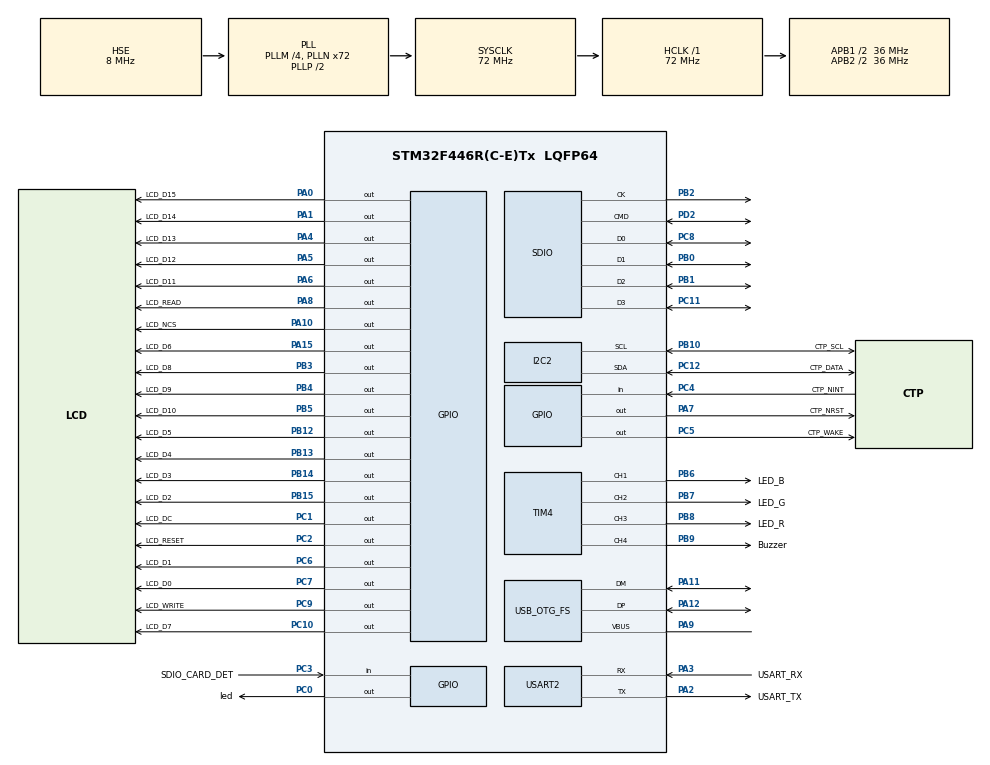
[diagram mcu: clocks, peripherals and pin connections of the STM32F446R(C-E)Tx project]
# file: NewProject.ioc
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PH0-OSC_IN.Signal=RCC_OSC_IN
FATFS0.BSP.api=Unknown
PB10.Mode=I2C
VP_FATFS_VS_SDIO.Mode=SDIO
PC12.Signal=I2C2_SDA
PB14.GPIO_Label=LCD_D3
PA14.GPIO_Label=TCK
PC6.GPIO_Label=LCD_D1
PB6.GPIO_Label=LED_B
PA6.GPIO_Label=LCD_D11
PB13.Signal=GPIO_Output
RCC.SYSCLKSource=RCC_SYSCLKSOURCE_PLLCLK
RCC.APB2TimFreq_Value=72000000
PB6.Signal=S_TIM4_CH1
PC7.Signal=GPIO_Output
PC3.Signal=GPIO_Input
FATFS0.BSP.ip=GPIO
TIM4.Channel-PWM\ Generation3\ CH3=TIM_CHANNEL_3
PB2.Signal=SDIO_CK
FATFS0.BSP.i2caddr=0
PB12.GPIO_Label=LCD_D5
PC4.GPIO_Label=CTP_NINT
NVIC.TIM2_IRQn=true\:0\:0\:false\:false\:true\:true\:true
SH.S_TIM4_CH2.0=TIM4_CH2,PWM Generation2 CH2
PA8.Signal=GPIO_Output
Mcu.Package=LQFP64
PB9.Signal=S_TIM4_CH4
TIM2.Prescaler=7200
PB1.Signal=SDIO_D2
NVIC.TimeBase=TIM1_UP_TIM10_IRQn
USB_DEVICE.MANUFACTURER_STRING-HID_FS=Adri Carpio
FATFS0.BSP.solution=PC3
NVIC.TimeBaseIP=TIM1
PA10.Signal=GPIO_Output
PC11.Mode=SD_4_bits_Wide_bus
RCC.APB2CLKDivider=RCC_HCLK_DIV2
SH.S_TIM4_CH1.0=TIM4_CH1,PWM Generation1 CH1
RCC.APB1TimFreq_Value=72000000
TIM4.Channel-PWM\ Generation4\ CH4=TIM_CHANNEL_4
PA4.GPIO_Label=LCD_D13
FATFS0.BSP.STBoard=false
FATFS0.BSP.mode=Input
PC2.Signal=GPIO_Output
PC6.Signal=GPIO_Output
PC0.Signal=GPIO_Output
RCC.APB1CLKDivider=RCC_HCLK_DIV2
PC14-OSC32_IN.Signal=RCC_OSC32_IN
PA0-WKUP.GPIO_Label=LCD_D15
PA0-WKUP.Signal=GPIO_Output
PA3.Mode=Asynchronous
PB8.GPIO_Label=LED_R
PA8.GPIO_Label=LCD_READ
PA9.Signal=USB_OTG_FS_VBUS
PB10.Signal=I2C2_SCL
PB14.Signal=GPIO_Output
FATFS.BSP.number=1
PA5.Signal=GPIO_Output
PC12.Mode=I2C
NVIC.TIM3_IRQn=true\:0\:0\:false\:false\:true\:true\:true
PB4.GPIO_Label=LCD_D9
PB15.GPIO_Label=LCD_D2
PA1.GPIO_Label=LCD_D14
TIM2.Period=10
PA13.Mode=Serial_Wire
PC7.GPIO_Label=LCD_D0
PC8.Mode=SD_4_bits_Wide_bus
PA4.Signal=GPIO_Output
PB5.Signal=GPIO_Output
PA5.GPIO_Label=LCD_D12
PC12.GPIO_Label=CTP_DATA
PA11.Signal=USB_OTG_FS_DM
ProjectManager.HeapSize=0x9000
PB1.Mode=SD_4_bits_Wide_bus
NVIC.TIM1_UP_TIM10_IRQn=true\:0\:0\:false\:false\:true\:false\:true
NVIC.PriorityGroup=NVIC_PRIORITYGROUP_4
PC3.GPIO_Label=SDIO_CARD_DET
PD2.Signal=SDIO_CMD
PB0.Signal=SDIO_D1
PC1.Signal=GPIO_Output
FATFS0.BSP.name=Detect_SDIO
USB_DEVICE.VirtualMode-HID_FS=Hid
Mcu.Family=STM32F4
USB_DEVICE.CLASS_NAME_FS=HID
RCC.CortexFreq_Value=72000000
PC10.Signal=GPIO_Output
PC0.GPIO_Label=led
PA11.Mode=Device_Only
PB13.GPIO_Label=LCD_D4
PB15.Signal=GPIO_Output
ProjectManager.StackSize=0x9000
PA15.GPIO_Label=LCD_D6
PA12.Signal=USB_OTG_FS_DP
RCC.HCLKFreq_Value=72000000
TIM3.Period=10
RCC.AHBFreq_Value=72000000
PH0-OSC_IN.Mode=HSE-External-Oscillator
RCC.HSE_VALUE=8000000
PC14-OSC32_IN.Mode=LSE-External-Oscillator
PA14.Mode=Serial_Wire
VP_SYS_VS_tim1.Mode=TIM1
TIM3.Prescaler=7200
PA10.GPIO_Label=LCD_NCS
PB7.Signal=S_TIM4_CH2
RCC.FLatency-AdvancedSettings=FLASH_LATENCY_2
PB7.GPIO_Label=LED_G
PH1-OSC_OUT.Mode=HSE-External-Oscillator
PA6.Signal=GPIO_Output
USART2.VirtualMode=VM_ASYNC
NVIC.OTG_FS_IRQn=true\:0\:0\:false\:false\:true\:false\:true
PA2.GPIO_Label=USART_TX
USB_OTG_FS.VirtualMode=Device_Only
PA15.Signal=GPIO_Output
PB5.GPIO_Label=LCD_D10
PC5.Signal=GPIO_Output
PC2.GPIO_Label=LCD_RESET
VP_TIM3_VS_ClockSourceINT.Mode=Internal
PB4.Signal=GPIO_Output
PA3.Signal=USART2_RX
PB3.GPIO_Label=LCD_D8
RCC.PLLSourceVirtual=RCC_PLLSOURCE_HSE
TIM4.Channel-PWM\ Generation1\ CH1=TIM_CHANNEL_1
PC15-OSC32_OUT.Mode=LSE-External-Oscillator
PB9.GPIO_Label=Buzzer
PC10.GPIO_Label=LCD_D7
PC9.GPIO_Label=LCD_WRITE
USB_DEVICE.VirtualModeFS=Hid_FS
SH.S_TIM4_CH4.0=TIM4_CH4,PWM Generation4 CH4
PC11.Signal=SDIO_D3
PC8.Signal=SDIO_D0
USB_DEVICE.PRODUCT_STRING_HID_FS=Teclado DisplayPad
PC4.Signal=GPIO_Input
FATFS0.BSP.instance=PC3
PA13.Signal=SYS_JTMS-SWDIO
PA9.Mode=Activate_VBUS
ProjectManager.TargetToolchain=Makefile
PB10.GPIO_Label=CTP_SCL
SH.S_TIM4_CH3.0=TIM4_CH3,PWM Generation3 CH3
RCC.USBFreq_Value=48000000
PC15-OSC32_OUT.Signal=RCC_OSC32_OUT
PA1.Signal=GPIO_Output
PD2.Mode=SD_4_bits_Wide_bus
PB0.Mode=SD_4_bits_Wide_bus
board=NUCLEO-F446RE
RCC.VCOOutputFreq_Value=144000000
TIM4.Channel-PWM\ Generation2\ CH2=TIM_CHANNEL_2
VP_USB_DEVICE_VS_USB_DEVICE_HID_FS.Mode=HID_FS
RCC.APB2Freq_Value=36000000
VP_TIM2_VS_ClockSourceINT.Mode=Internal
PC1.GPIO_Label=LCD_DC
PH1-OSC_OUT.Signal=RCC_OSC_OUT
Mcu.Name=STM32F446R(C-E)Tx
PA2.Signal=USART2_TX
PA13.GPIO_Label=TMS
RCC.48MHZClocksFreq_Value=84000000
PB3.Signal=GPIO_Output
RCC.SYSCLKFreq_VALUE=72000000
PA7.GPIO_Label=CTP_NRST
PA12.Mode=Device_Only
PC5.GPIO_Label=CTP_WAKE
PB2.Mode=SD_4_bits_Wide_bus
PA14.Signal=SYS_JTCK-SWCLK
RCC.HSI_VALUE=16000000
RCC.PLLQ=3
RCC.PLLM=4
RCC.PLLN=72
PA2.Mode=Asynchronous
PB8.Signal=S_TIM4_CH3
PC9.Signal=GPIO_Output
RCC.APB1Freq_Value=36000000
PB12.Signal=GPIO_Output
PA3.GPIO_Label=USART_RX
PA7.Signal=GPIO_Output

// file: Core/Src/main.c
/* USER CODE BEGIN Header */
/**
  ******************************************************************************
  * @file           : main.c
  * @brief          : Main program body
  ******************************************************************************
  * @attention
  *
  * <h2><center>&copy; Copyright (c) 2020 STMicroelectronics.
  * All rights reserved.</center></h2>
  *
  * This software component is licensed by ST under Ultimate Liberty license
  * SLA0044, the "License"; You may not use this file except in compliance with
  * the License. You may obtain a copy of the License at:
  *                             www.st.com/SLA0044
  *
  ******************************************************************************
  */
/* USER CODE END Header */

#include "main.h"
#include "fatfs.h"
#include "i2c.h"
#include "sdio.h"
#include "tim.h"
#include "usart.h"
#include "usb_device.h"
#include "gpio.h"

/* USER CODE BEGIN Includes */
#include "lvgl.h"
#include "pantalla.h"
#include "tactil.h"
#include "panel_login.h"
#include "usb.h"
/* USER CODE END Includes */

void SystemClock_Config(void);

/* USER CODE BEGIN 0 */
volatile uint16_t cnt = 0; // contador temporal, usado para ver si el LED se queda fijo ( si lo hace, el sistema se colgó )
volatile uint16_t contador_lvgl = 0;
//volatile uint16_t contador_tactil_lvgl = 0;
/* USER CODE END 0 */

int main(void)
{

  /* MCU Configuration--------------------------------------------------------*/

  /* Reset of all peripherals, Initializes the Flash interface and the Systick. */
  HAL_Init();

  /* Configure the system clock */
  SystemClock_Config();

  /* Initialize all configured peripherals */
  MX_GPIO_Init();
  MX_SDIO_SD_Init();
  MX_TIM4_Init();
  MX_USART2_UART_Init();
  MX_I2C2_Init();
  MX_FATFS_Init();
  MX_TIM2_Init();
  MX_USB_DEVICE_Init();
  MX_TIM3_Init();
  /* USER CODE BEGIN 2 */
  usb_init();
  HAL_TIM_Base_Start_IT(&htim2);
  //HAL_TIM_Base_Start_IT(&htim3);
  lv_init();
  Pantalla_init();
  tactil_init();
  init_panel_login();

  /* USER CODE END 2 */

  /* Infinite loop */
  /* USER CODE BEGIN WHILE */

  while (1)
  {
    lv_task_handler();
    HAL_Delay(20);
    /* USER CODE END WHILE */

  }
}

void SystemClock_Config(void)
{
  RCC_OscInitTypeDef RCC_OscInitStruct = {0};
  RCC_ClkInitTypeDef RCC_ClkInitStruct = {0};
  RCC_PeriphCLKInitTypeDef PeriphClkInitStruct = {0};

  /** Configure the main internal regulator output voltage
  */
  __HAL_RCC_PWR_CLK_ENABLE();
  __HAL_PWR_VOLTAGESCALING_CONFIG(PWR_REGULATOR_VOLTAGE_SCALE3);
  /** Initializes the CPU, AHB and APB busses clocks
  */
  RCC_OscInitStruct.OscillatorType = RCC_OSCILLATORTYPE_HSE;
  RCC_OscInitStruct.HSEState = RCC_HSE_ON;
  RCC_OscInitStruct.PLL.PLLState = RCC_PLL_ON;
  RCC_OscInitStruct.PLL.PLLSource = RCC_PLLSOURCE_HSE;
  RCC_OscInitStruct.PLL.PLLM = 4;
  RCC_OscInitStruct.PLL.PLLN = 72;
  RCC_OscInitStruct.PLL.PLLP = RCC_PLLP_DIV2;
  RCC_OscInitStruct.PLL.PLLQ = 3;
  RCC_OscInitStruct.PLL.PLLR = 2;
  if (HAL_RCC_OscConfig(&RCC_OscInitStruct) != HAL_OK)
  {
    Error_Handler();
  }
  /** Initializes the CPU, AHB and APB busses clocks
  */
  RCC_ClkInitStruct.ClockType = RCC_CLOCKTYPE_HCLK | RCC_CLOCKTYPE_SYSCLK | RCC_CLOCKTYPE_PCLK1 | RCC_CLOCKTYPE_PCLK2;
  RCC_ClkInitStruct.SYSCLKSource = RCC_SYSCLKSOURCE_PLLCLK;
  RCC_ClkInitStruct.AHBCLKDivider = RCC_SYSCLK_DIV1;
  RCC_ClkInitStruct.APB1CLKDivider = RCC_HCLK_DIV2;
  RCC_ClkInitStruct.APB2CLKDivider = RCC_HCLK_DIV2;

  if (HAL_RCC_ClockConfig(&RCC_ClkInitStruct, FLASH_LATENCY_2) != HAL_OK)
  {
    Error_Handler();
  }
  PeriphClkInitStruct.PeriphClockSelection = RCC_PERIPHCLK_SDIO | RCC_PERIPHCLK_CLK48;
  PeriphClkInitStruct.Clk48ClockSelection = RCC_CLK48CLKSOURCE_PLLQ;
  PeriphClkInitStruct.SdioClockSelection = RCC_SDIOCLKSOURCE_CLK48;
  if (HAL_RCCEx_PeriphCLKConfig(&PeriphClkInitStruct) != HAL_OK)
  {
    Error_Handler();
  }
}

void HAL_TIM_PeriodElapsedCallback(TIM_HandleTypeDef *htim)
{
  if (htim->Instance == TIM1)
  {
    HAL_IncTick();
  }
  /* USER CODE BEGIN Callback 1 */
  if (htim->Instance == TIM2)
  {
    cnt++;

    if (cnt >= 500)
    {
      HAL_GPIO_TogglePin(led_GPIO_Port, led_Pin);
      //HAL_GPIO_WritePin(led_GPIO_Port, led_Pin, 1);
      cnt = 0;
    }

    contador_lvgl++;
    if (contador_lvgl >= 3)
    {
      lv_tick_inc(3);
      contador_lvgl = 0;
    }
  }

  //if (htim->Instance == TIM3)
  //{
  //contador_tactil_lvgl++;
  //if (contador_tactil_lvgl >= 20)
  //{
  //lv_task_handler();
  //contador_tactil_lvgl = 0;
  //}
  //}

  /* USER CODE END Callback 1 */
}

void Error_Handler(void)
{
}

/************************ (C) COPYRIGHT STMicroelectronics *****END OF FILE****/
